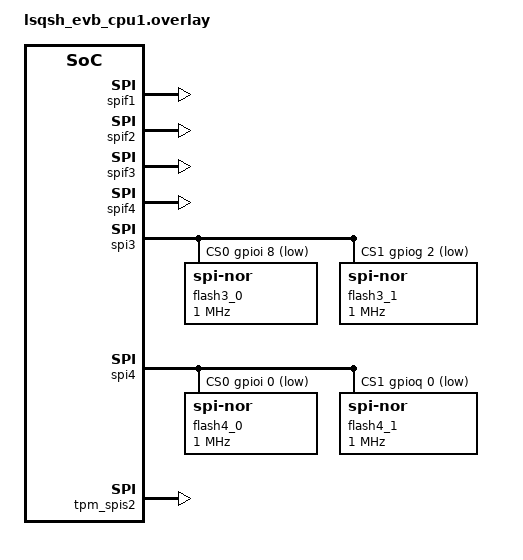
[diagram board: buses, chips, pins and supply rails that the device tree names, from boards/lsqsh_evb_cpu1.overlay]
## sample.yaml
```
sample:
  description: tpm_back_pressure_wwdt sample, the simplest Zephyr
    application
  name: tpm_back_pressure_wwdt
common:
  tags: introduction
  integration_platforms:
    - native_sim
  harness: console
  harness_config:
    type: one_line
    regex:
      - "tpm_back_pressure_wwdt (.*)"
tests:
  sample.basic.helloworld:
    tags: introduction
```

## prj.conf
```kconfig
CONFIG_SPI_FILTER_LINKEDSEMI=y
CONFIG_SPI=y
CONFIG_FLASH=y
# CONFIG_LOG_MODE_IMMEDIATE=y
CONFIG_LOG_MODE_DEFERRED=n
CONFIG_LOG_MODE_IMMEDIATE=y
CONFIG_SHELL=n
CONFIG_FLASH_SHELL=n
CONFIG_DMA=y

CONFIG_LOG=y
CONFIG_LOG_BUFFER_SIZE=65536
CONFIG_SHELL_BACKEND_SERIAL_LOG_MESSAGE_QUEUE_SIZE=40960
# CONFIG_LOG=n
# CONFIG_LOG_BUFFER_SIZE=1024
# CONFIG_SHELL_BACKEND_SERIAL_LOG_MESSAGE_QUEUE_SIZE=1024

CONFIG_FLASH_JESD216_API=y
CONFIG_SPI_EXTENDED_MODES=y

CONFIG_MAIN_STACK_SIZE=10240
CONFIG_IDLE_STACK_SIZE=512
CONFIG_TEST_EXTRA_STACK_SIZE=1536
CONFIG_SYSTEM_WORKQUEUE_STACK_SIZE=8192
CONFIG_ISR_STACK_SIZE=4096
CONFIG_PRIVILEGED_STACK_SIZE=4096
CONFIG_SHELL_STACK_SIZE=4096
CONFIG_LOG_PROCESS_THREAD_STACK_SIZE=4096

CONFIG_SPI_FILTER_INTERRUPT_LOG=n
CONFIG_SPI_FILTER_DMA_LOG=y
```

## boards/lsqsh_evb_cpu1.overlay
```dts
#include "lsqsh_pinctrl_pfr_tpm.dtsi"

/ {
    aliases {
#if 0
        spifilter = &spif3;
        spifiltermaster = &spif1;
        spiflash = &flash3_0;
#else
        spifilter = &spif2;
        spifiltermaster = &spif4;
        spiflash = &flash4_1;
#endif

#if 0
        tpm=&tpm_spis1;
#else
        tpm=&tpm_spis2;
#endif
    };
};

&spif1 {
    status = "okay";
};

&spif2 {
    status = "okay";
};

&spif3 {
    status = "okay";
};

&spif4 {
    status = "okay";
};

&spi3 {
    cs-gpios = <&gpioi 8 GPIO_ACTIVE_LOW>,
                <&gpiog 2 GPIO_ACTIVE_LOW>;
    pinctrl-0 = <>;
    pinctrl-names = "default";
    //timing-calibration-disabled;
    dmas =<&dmac2 6 DMA_SPI3_RX>,<&dmac2 6 DMA_SPI3_TX>;
    dma-names ="rx","tx";
    status = "okay";

    flash3_0: flash3@0 {
        compatible = "jedec,spi-nor";
        reg = <0>;
        spi-max-frequency = <DT_FREQ_M(1)>;
        spi-max-buswidth = <4>;
        re-init-support;
    };
    flash3_1: flash3@1 {
        compatible = "jedec,spi-nor";
        reg = <1>;
        spi-max-frequency = <DT_FREQ_M(1)>;
        spi-max-buswidth = <4>;
        re-init-support;
    };
};

&spi4 {
    cs-gpios = <&gpioi 0 GPIO_ACTIVE_LOW>,
                <&gpioq 0 GPIO_ACTIVE_LOW>;
    pinctrl-0 = <>;
    pinctrl-names = "default";
    //timing-calibration-disabled;
    dmas =<&dmac2 7 DMA_SPI4_RX>,<&dmac2 7 DMA_SPI4_TX>;
    dma-names ="rx","tx";
    status = "okay";

    flash4_0: flash4@0 {
        compatible = "jedec,spi-nor";
        reg = <0>;
        spi-max-frequency = <DT_FREQ_M(1)>;
        spi-max-buswidth = <4>;
        re-init-support;
    };
    flash4_1: flash4@1 {
        compatible = "jedec,spi-nor";
        reg = <1>;
        spi-max-frequency = <DT_FREQ_M(1)>;
        spi-max-buswidth = <4>;
        re-init-support;
    };
};

#if 0
&tpm_spis1 {
    status = "okay";
};
#else
&tpm_spis2 {
    status = "okay";
};
#endif

&dmac1 {
    status = "okay";
};

&dmac2 {
    status = "okay";
};

#if 0
#undef SRAM_TOTAL_SIZE
#undef SRAM_RO_SIZE
#undef SRAM_RW_SIZE

#define SRAM_TOTAL_SIZE DT_SIZE_K(512 - 128)
#define SRAM_RO_SIZE    DT_SIZE_K(256 - 128)
#define SRAM_RW_SIZE    (SRAM_TOTAL_SIZE - SRAM_RO_SIZE)

&sram1_ro {
    reg = <0x10020000 SRAM_RO_SIZE>;
};

&sram1 {
    reg = <(0x10020000 + SRAM_RO_SIZE) SRAM_RW_SIZE>;
};
#endif
```

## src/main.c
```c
/*
 * Copyright (c) 2024 Linkedsemi
 *
 * SPDX-License-Identifier: Apache-2.0
 */

#include "ls_soc_gpio_def.h"
#include "platform.h"
#include "zephyr/sys/printk.h"
#include <stdint.h>
#include <zephyr/drivers/spi.h>
#include <zephyr/drivers/spi_nor.h>
#include <zephyr/kernel.h>
#include <stdlib.h>
#include <stdio.h>
#include <zephyr/kernel.h>
#include <zephyr/drivers/spi.h>
#include <zephyr/drivers/flash.h>
#include <ls_soc_gpio.h>
#include <zephyr/device.h>
#include <zephyr/devicetree.h>
#include <zephyr/logging/log.h>
#include <reg_spid.h>
#include <spid_linkedsemi.h>
#include <reg_spi_filter.h>
#include <spi_filter.h>
#include <ls_soc_gpio.h>
#include <zephyr/drivers/watchdog.h>
#include <ls_soc_gpio.h>
#include <soc.h>

LOG_MODULE_REGISTER(tpm_back_pressure_wwdt, LOG_LEVEL_INF);

#define tpm_base            DT_REG_ADDR(DT_ALIAS(tpm))

void spi_monitor_target_addr_send(const struct device *const spifiltermaster)
{
	static const uint8_t send_data_0[] = {
		0x03,0xd4,0x00,0x00,0x98,0x76,0x54,0x32,0x10
	};
	uint8_t rx[9] = {0};
	const struct device *spi_dev = spif_spi_dev(spifiltermaster);
	// uint32_t freq = DT_PROP(DT_ALIAS(spiflash), spi_max_frequency);
	uint32_t freq = 10*1000000;
	const struct spi_config spi_cfg = {
		.operation = SPI_OP_MODE_MASTER | SPI_WORD_SET(8) | SPI_TRANSFER_MSB,
		.frequency = freq,
		.cs = { .gpio = *(spif_spi_cs(spifiltermaster)), },
	};

	int ret=0;
	struct spi_buf tx_buf_0 = {
		.buf = (uint8_t*)send_data_0,
		.len = sizeof(send_data_0),
	};
	struct spi_buf rx_buf_0 = {
			.buf = &rx,
			.len = sizeof(rx),
		};
	const struct spi_buf_set tx_set_0 = { &tx_buf_0, 1 };
	const struct spi_buf_set rx_set_0 = { &rx_buf_0, 1 };

	ret = spi_transceive(spi_dev, &spi_cfg, &tx_set_0, &rx_set_0);

	if (ret < 0) {
		LOG_ERR("send failed: %d",ret);
	}else {

		for (int j = 0; j < sizeof(rx); j++) {
			printk("0x%02X ", rx[j]);
		}
		printk("\n");

	}

}
void spi_monitor_target_addr(const struct device *const spifiltermaster)
{
	static const uint8_t send_data_0[] = {
		0x83,0xd4,0x00,0x00,0x00,0xff,0xff,0xff,0xff
	};
	uint8_t rx[9] = {0};
	const struct device *spi_dev = spif_spi_dev(spifiltermaster);
	// uint32_t freq = DT_PROP(DT_ALIAS(spiflash), spi_max_frequency);
	uint32_t freq = 10*1000000;
	const struct spi_config spi_cfg = {
		.operation = SPI_OP_MODE_MASTER | SPI_WORD_SET(8) | SPI_TRANSFER_MSB,
		.frequency = freq,
		.cs = { .gpio = *(spif_spi_cs(spifiltermaster)), },
	};

	int ret=0;
	struct spi_buf tx_buf_0 = {
		.buf = (uint8_t*)send_data_0,
		.len = sizeof(send_data_0),
	};
	struct spi_buf rx_buf_0 = {
			.buf = &rx,
			.len = sizeof(rx),
		};
	const struct spi_buf_set tx_set_0 = { &tx_buf_0, 1 };
	const struct spi_buf_set rx_set_0 = { &rx_buf_0, 1 };

	ret = spi_transceive(spi_dev, &spi_cfg, &tx_set_0, &rx_set_0);

	if (ret < 0) {
		LOG_ERR("send failed: %d",ret);
	}else {

		for (int j = 0; j < sizeof(rx); j++) {
			printk("0x%02X ", rx[j]);
		}
		printk("\n");

	}

}

void main(void) {
	printk("tpm_back_pressure_wwdt\n");

	const struct device *tpm = DEVICE_DT_GET(DT_ALIAS(tpm));

	if (!device_is_ready(tpm)) {
		LOG_ERR("SPI device not ready!");
		return;
	}

	init_spid_registers(tpm, INTF_FIFO_MODE);

	int ret = spid_linkedsemi_cold_reset(tpm);
	if (ret != 0) {
		LOG_ERR("Cold reset failed: %d", ret);
		return;
	}
	// FIFO
	init_spid_registers(tpm, INTF_FIFO_MODE);

	uint32_t tpm_cfg_num = sys_read32(tpm_base+SPID_TPM_CFG);
	LOG_INF("tpm_cfg_num 0x%08x ", tpm_cfg_num);
	sys_write32(0x12345678, tpm_base+SPID_TPM_ACCESS_0);
	uint32_t ACCESS_0 = sys_read32(tpm_base+SPID_TPM_ACCESS_0);
	LOG_INF("SPID_TPM_ACCESS_0 0x%08x ", ACCESS_0);

	const struct device *const spifiltermaster = DEVICE_DT_GET(DT_ALIAS(spifiltermaster));
	spif_switch_to_master(spifiltermaster);
	int check = spif_pinctrl_master_mode_check(spifiltermaster);
	__ASSERT_NO_MSG(check);
	const struct device *const flash_dev = DEVICE_DT_GET(DT_ALIAS(spiflash));
	const struct device *spi_dev = spif_spi_dev(spifiltermaster);
	uint32_t freq = DT_PROP(DT_ALIAS(spiflash), spi_max_frequency);
	uintptr_t base_address = DT_REG_ADDR(DT_ALIAS(spifiltermaster));
	LOG_INF("spifiltermaster base address: 0x%08lx", base_address);
	wwdt1_tpm_init(tpm, 3*1000);

	spi_monitor_target_addr(spifiltermaster);

	LOG_INF("spi_back_pressure");

}
```
